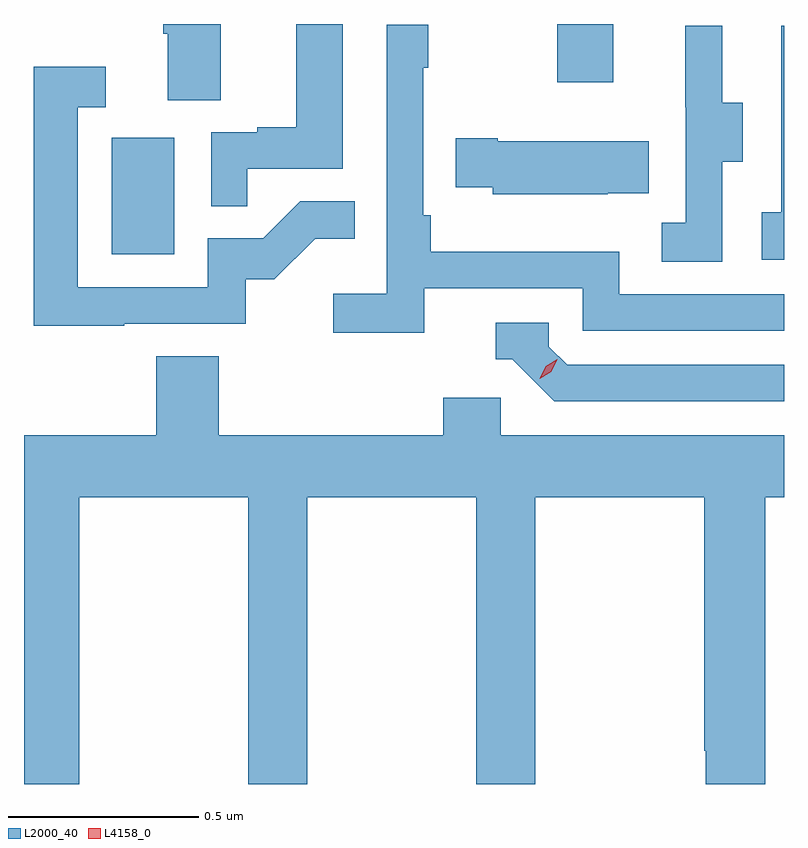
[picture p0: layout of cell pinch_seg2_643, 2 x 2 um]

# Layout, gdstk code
import gdstk
lib = gdstk.Library(unit=1e-6, precision=1e-09)
def R(c, l, rs):  # rectangles x0, y0, x1, y1
    for r in rs: c.add(gdstk.rectangle(r[:2], r[2:], *l))
def P(c, l, *ps):  # polygons
    for p in ps: c.add(gdstk.Polygon(p, *l))
L2000_40 = (2000, 40)
L4158_0 = (4158, 0)

pinch_seg2_643 = lib.new_cell('pinch_seg2_643')
R(pinch_seg2_643, L2000_40, [(1037.558,621.636,1037.722,621.943), (1038.73,622.089,1038.877,622.242)])
P(pinch_seg2_643, L2000_40, [(1037.915,621.861),(1038.166,621.861),(1038.166,622.242),(1038.044,622.242),(1038.044,621.97),(1037.941,621.97),(1037.941,621.957),(1037.82,621.957),(1037.82,621.763),(1037.915,621.763)],
  [(1037.845,622.242),(1037.693,622.242),(1037.693,622.216),(1037.705,622.216),(1037.705,622.042),(1037.845,622.042)],
  [(1038.38,621.546),(1038.798,621.546),(1038.798,621.435),(1039.327,621.435),(1039.327,621.531),(1038.894,621.531),(1038.894,621.643),(1038.398,621.643),(1038.398,621.739),(1038.378,621.739),(1038.378,622.127),(1038.391,622.127),(1038.391,622.24),(1038.282,622.24),(1038.282,621.532),(1038.141,621.532),(1038.141,621.43),(1038.38,621.43)],
  [(1039.164,621.88),(1039.219,621.88),(1039.219,622.035),(1039.165,622.035),(1039.165,622.237),(1039.067,622.237),(1039.067,622.023),(1039.068,622.023),(1039.068,621.719),(1039.005,621.719),(1039.005,621.616),(1039.164,621.616)],
  [(1039.327,622.237),(1039.32,622.237),(1039.32,621.746),(1039.269,621.746),(1039.269,621.621),(1039.327,621.621)],
  [(1037.591,621.453),(1037.91,621.453),(1037.91,621.57),(1037.986,621.57),(1038.093,621.677),(1038.197,621.677),(1038.197,621.776),(1038.054,621.776),(1037.956,621.678),(1037.811,621.678),(1037.811,621.549),(1037.469,621.549),(1037.469,622.023),(1037.542,622.023),(1037.542,622.129),(1037.353,622.129),(1037.353,621.448),(1037.591,621.448)],
  [(1038.863,621.797),(1038.971,621.797),(1038.971,621.934),(1038.574,621.934),(1038.574,621.942),(1038.463,621.942),(1038.463,621.812),(1038.561,621.812),(1038.561,621.794),(1038.863,621.794)],
  [(1039.327,621.345),(1038.756,621.345),(1038.708,621.393),(1038.708,621.456),(1038.569,621.456),(1038.569,621.36),(1038.612,621.36),(1038.723,621.249),(1039.327,621.249)],
  [(1037.472,620.996),(1037.917,620.996),(1037.917,620.242),(1038.072,620.242),(1038.072,620.996),(1038.517,620.996),(1038.517,620.242),(1038.672,620.242),(1038.672,620.996),(1039.117,620.996),(1039.117,620.329),(1039.121,620.329),(1039.121,620.242),(1039.277,620.242),(1039.277,620.996),(1039.327,620.996),(1039.327,621.16),(1038.582,621.16),(1038.582,621.258),(1038.43,621.258),(1038.43,621.16),(1037.84,621.16),(1037.84,621.368),(1037.675,621.368),(1037.675,621.16),(1037.327,621.16),(1037.327,620.242),(1037.472,620.242)])
P(pinch_seg2_643, L4158_0, [(1038.684,621.308),(1038.684,621.308),(1038.7,621.341),(1038.73,621.36),(1038.73,621.36),(1038.73,621.36),(1038.714,621.327),(1038.684,621.308)])

lib.write_gds('pinch_seg2_643.gds')
